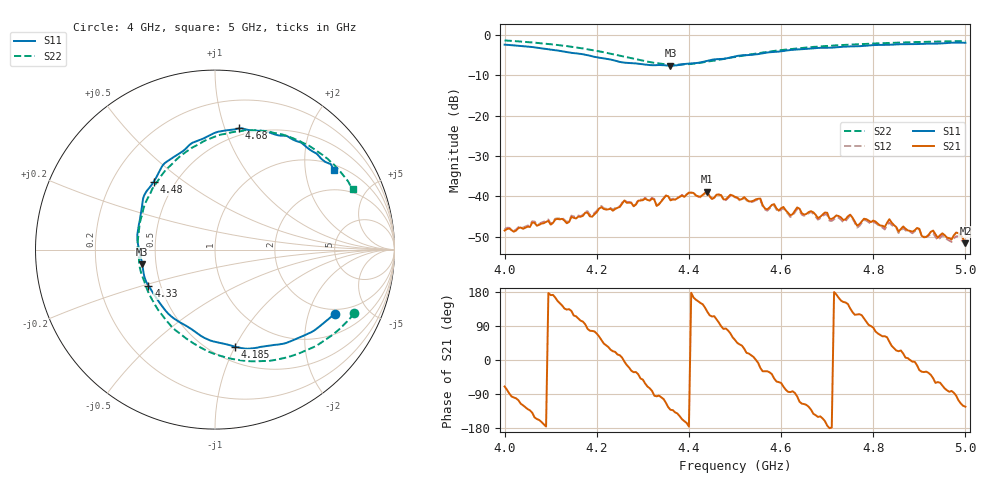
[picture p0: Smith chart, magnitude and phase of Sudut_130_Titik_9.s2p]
# Hz S RI R 50
! CMT, C1220, 16058040, 17.2.0/1
! Date: 15/08/2018 11:32:57
! Data: Format (Calibration Info)
! Freq  S11: Re/Im (F2)  S21: Re/Im (F2)  S12: Re/Im (F2)  S22: Re/Im (F2)
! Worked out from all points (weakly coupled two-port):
!   201 points, 4 GHz to 5 GHz, reference 50 ohm
!   highest |S21| = -38.85 dB at 4.44 GHz (marker M1); lowest = -51.6 dB at 5 GHz (marker M2)
!   lowest |S11| = -7.7 dB at 4.36 GHz (marker M3), VSWR 2.41, Z = 20.9 - j4.11 ohm
!   |S11| at or under -10 dB: nowhere
!   |S22| runs from -7.4 to -1.4 dB; largest |S21 - S12| = 0.0005
!   S11 on the Smith chart (normalised r, x): 4 GHz: 1.79, -2.99; 4.185 GHz: 0.64, -1.00; 4.33 GHz: 0.43, -0.21; 4.48 GHz: 0.38, +0.39; 4.68 GHz: 0.44, +1.12; 5 GHz: 1.16, +2.85
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4e9  0.6667 -0.3571  0.0013 -0.00355  0.00144 -0.00364  0.7744 -0.3554
4.17e9  0.1629 -0.5513  -0.00112 0.00563  -0.00121 0.00579  0.2738 -0.6207
4.185e9  0.1105 -0.5406  0.00125 0.00552  0.00114 0.00578  0.2097 -0.6225
4.26e9  -0.1705 -0.4189  0.00887 -0.000667  0.00905 -0.000697  -0.1187 -0.5233
4.33e9  -0.3708 -0.2012  -0.000772 -0.00758  -0.000823 -0.00764  -0.3559 -0.2686
4.335e9  -0.381 -0.1837  -0.00054 -0.00794  -0.00062 -0.00805  -0.3679 -0.2452
4.36e9  -0.4052 -0.0814  -0.0059 -0.0067  -0.00606 -0.00672  -0.4129 -0.1249
4.44e9  -0.4053 0.2513  -0.0069 0.00909  -0.00669 0.00902  -0.3873 0.261
4.48e9  -0.3425 0.3769  0.00109 0.00908  0.00127 0.00888  -0.3003 0.4102
4.5e9  -0.3037 0.4473  0.00593 0.00786  0.00588 0.00773  -0.2456 0.4713
4.62e9  -0.00664 0.6484  0.000535 -0.0058  0.000369 -0.00554  0.1111 0.6563
4.635e9  0.0242 0.6578  -0.000792 -0.00725  -0.00074 -0.00695  0.1535 0.6613
4.67e9  0.1136 0.6707  -0.00498 -0.00391  -0.00484 -0.00367  0.2488 0.6636
4.68e9  0.1327 0.6754  -0.00468 -0.00266  -0.0045 -0.00249  0.2734 0.6602
4.75e9  0.2886 0.6577  -0.00426 0.00412  -0.00418 0.00397  0.4338 0.6201
4.765e9  0.321 0.6457  -0.00218 0.00375  -0.002 0.00358  0.463 0.6093
4.78e9  0.3589 0.6355  -0.00175 0.00498  -0.00179 0.00474  0.4924 0.5935
4.825e9  0.4268 0.6172  0.00191 0.00371  0.00186 0.00341  0.5681 0.5495
4.835e9  0.4451 0.6078  0.00348 0.00388  0.00308 0.00357  0.5827 0.5388
4.855e9  0.4772 0.597  0.00337 0.00144  0.00323 0.00139  0.6125 0.5166
4.98e9  0.6465 0.4733  -0.000258 -0.00355  -0.000234 -0.00319  0.7508 0.3627
5e9  0.6615 0.4458  -0.00144 -0.00219  -0.00126 -0.00206  0.7689 0.3359
